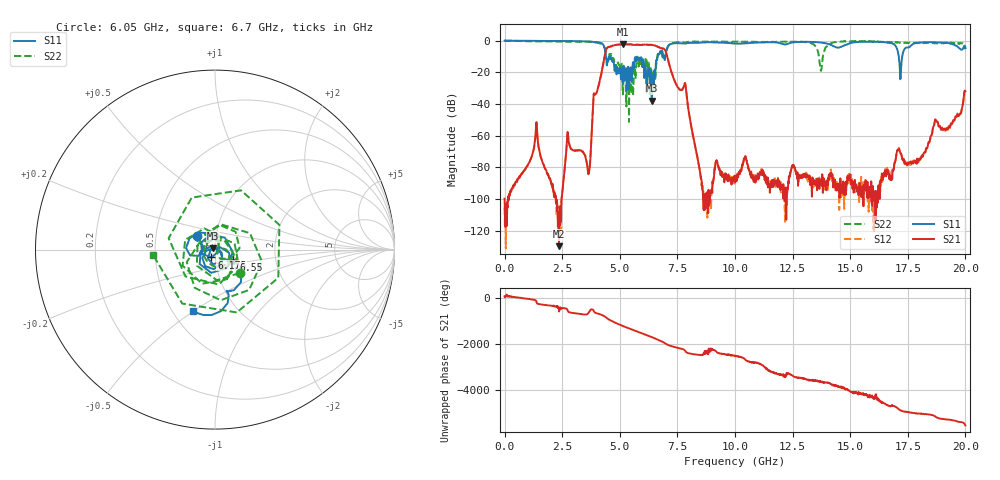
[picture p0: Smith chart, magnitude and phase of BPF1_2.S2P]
!Agilent Technologies,E5071C,MY46215201,A.10.06
!Date: Mon Jul 01 14:51:57 2019
!Data & Calibration Information:
!Freq	S11:SOLT2(ON)	S21:SOLT2(ON)	S12:SOLT2(ON)	S22:SOLT2(ON)
!PortZ  Port1:50+j0  Port2:50+j0
!Above PortZ is port z conversion or system Z0 setting when saving the data.
!When reading, reference impedance value at option line is always used.
# Hz S dB R 50
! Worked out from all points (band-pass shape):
!   1601 points, 300 kHz to 20 GHz, reference 50 ohm
!   highest |S21| = -2.25 dB at 5.138 GHz (marker M1); lowest = -129.9 dB at 2.363 GHz (marker M2)
!   |S21| within 3 dB of the highest: 4.421 GHz to 6.926 GHz (2.505 GHz wide, 44.2 % of centre)
!   lowest |S11| = -37.9 dB at 6.388 GHz (marker M3), VSWR 1.03, Z = 48.9 + j0.67 ohm
!   |S11| at or under -10 dB: 4.402 GHz to 4.527 GHz (125.1 MHz wide, 2.8 % of centre); 4.545 GHz to 6.641 GHz (2.096 GHz wide, 37.5 % of centre); 17.11 GHz to 17.26 GHz (151.6 MHz wide, 0.882 % of centre)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
!   |S22| runs from -51.3 to 0.1 dB; largest |S21 - S12| = 0.014
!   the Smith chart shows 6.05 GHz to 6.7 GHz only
!   S11 on the Smith chart (normalised r, x): 6.05 GHz: 0.81, +0.12; 6.175 GHz: 0.96, -0.08; 6.55 GHz: 1.22, -0.14; 6.7 GHz: 0.63, -0.50
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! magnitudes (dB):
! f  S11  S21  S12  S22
! 300 kHz  0.0  -99.9  -105.4  0.0
! 1.375 GHz  -0.1  -51.7  -51.6  -0.4
! 2.363 GHz  -0.3  -129.9  -109.3  -0.6
! 3.338 GHz  -0.4  -69.6  -69.7  -0.8
! 3.65 GHz  -0.4  -83.9  -84.1  -0.8
! 3.913 GHz  -0.9  -34.1  -34.1  -1.1
! 4.413 GHz  -11.9  -5.5  -5.5  -11.2
! 5.138 GHz  -20.5  -2.2  -2.2  -33.9
! 6.05 GHz  -18.2  -2.4  -2.5  -14.5
! 6.175 GHz  -26.3  -2.6  -2.6  -15.3
! 6.388 GHz  -37.9  -2.7  -2.7  -25.1
! 6.55 GHz  -18.6  -3.2  -3.2  -22.6
! 6.675 GHz  -8.6  -4.0  -4.1  -8.6
! 6.7 GHz  -8.8  -4.1  -4.2  -9.2
! 7.838 GHz  -1.9  -27.0  -26.9  -1.5
! 8.488 GHz  -1.3  -83.5  -83.5  -0.5
! 10 GHz  -1.8  -85.2  -87.0  -0.6
! 13.34 GHz  -0.8  -98.6  -92.6  -1.9
! 16.68 GHz  -1.3  -83.8  -84.7  -0.9
! 17.19 GHz  -23.9  -71.4  -71.4  -1.0
! 17.96 GHz  -1.3  -76.1  -76.6  -1.4
! 20 GHz  -4.7  -32.0  -32.1  -5.3
